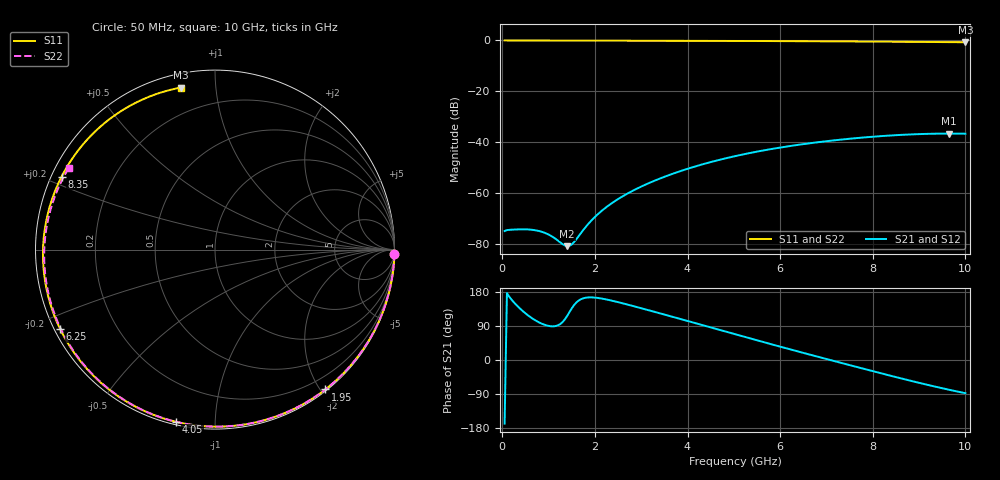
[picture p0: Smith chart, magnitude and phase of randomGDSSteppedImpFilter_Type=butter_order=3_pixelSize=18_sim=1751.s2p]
! freq	dB(S11)	phase(S11)	dB(S12)	phase(S12)
!  dB(S21)	phase(S21)	dB(S22)	phase(S22)
!S-par simulation data
#  GHz  S  DB  R 50
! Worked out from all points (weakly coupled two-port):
!   200 points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, 50 MHz to 10 GHz, reference 50 ohm
!   highest |S21| = -36.66 dB at 9.65 GHz (marker M1); lowest = -81.0 dB at 1.4 GHz (marker M2)
!   lowest |S11| = -0.7 dB at 10 GHz (marker M3), VSWR 24.79, Z = 3.35 + j40.6 ohm
!   |S11| at or under -10 dB: nowhere
!   |S22| runs from -0.6 to 0.0 dB; largest |S21 - S12| = 0
!   S11 on the Smith chart (normalised r, x): 50 MHz: 0, -84; 1.95 GHz: 0.02, -2.06; 4.05 GHz: 0.01, -0.80; 6.25 GHz: 0.02, -0.24; 8.35 GHz: 0.03, +0.23; 10 GHz: 0.07, +0.81
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0.05  -0.00 -1.4  -75.03 -167.9  -75.03 -167.9  -0.00 -1.3
0.4  -0.01 -10.9  -74.36 133.7  -74.36 133.7  -0.01 -10.1
0.75  -0.02 -20.3  -74.85 102.1  -74.85 102.1  -0.02 -18.8
1  -0.03 -27.0  -76.42 89.9  -76.42 89.9  -0.03 -24.9
1.3  -0.04 -34.9  -80.17 99.9  -80.17 99.9  -0.04 -32.2
1.4  -0.05 -37.5  -81.00 116.2  -81.00 116.2  -0.04 -34.7
1.55  -0.05 -41.4  -79.38 145.0  -79.38 145.0  -0.05 -38.3
1.75  -0.06 -46.6  -74.59 162.8  -74.59 162.8  -0.05 -43.0
1.95  -0.06 -51.7  -70.39 165.1  -70.39 165.1  -0.06 -47.8
2.2  -0.07 -58.1  -66.29 161.0  -66.29 161.0  -0.07 -53.6
2.55  -0.08 -66.9  -61.89 151.1  -61.89 151.1  -0.08 -61.6
3.4  -0.11 -87.5  -54.39 123.3  -54.39 123.3  -0.10 -80.4
4.05  -0.14 -102.8  -50.25 101.3  -50.25 101.3  -0.13 -94.2
5.05  -0.19 -125.6  -45.45 67.2  -45.45 67.2  -0.17 -114.2
5.65  -0.23 -139.2  -43.26 46.9  -43.26 46.9  -0.20 -125.8
6.25  -0.27 -152.9  -41.47 27.0  -41.47 27.0  -0.24 -137.2
6.7  -0.31 -163.4  -40.33 12.3  -40.33 12.3  -0.27 -145.6
7.55  -0.39 175.8  -38.61 -15.1  -38.61 -15.1  -0.34 -161.4
8.35  -0.48 154.6  -37.45 -40.4  -37.45 -40.4  -0.42 -176.4
9  -0.56 135.4  -36.87 -60.3  -36.87 -60.3  -0.48 171.0
9.65  -0.65 114.2  -36.66 -78.6  -36.66 -78.6  -0.56 158.0
10  -0.70 101.8  -36.72 -87.6  -36.72 -87.6  -0.60 150.7
